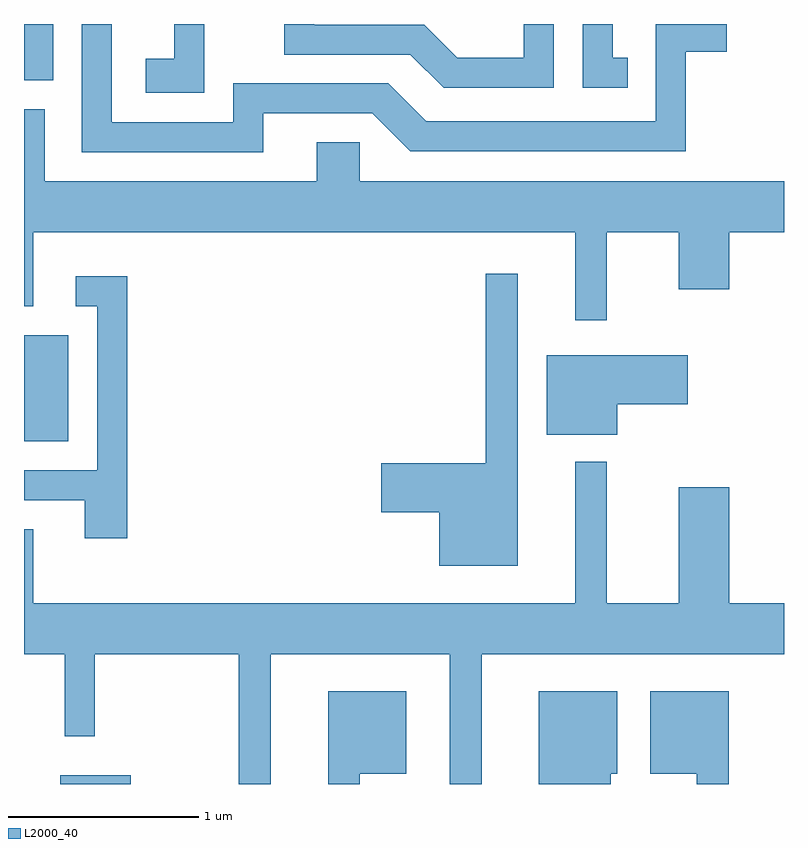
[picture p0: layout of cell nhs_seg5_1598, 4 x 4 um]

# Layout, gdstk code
import gdstk
lib = gdstk.Library(unit=1e-6, precision=1e-09)
def R(c, l, rs):  # rectangles x0, y0, x1, y1
    for r in rs: c.add(gdstk.rectangle(r[:2], r[2:], *l))
def P(c, l, *ps):  # polygons
    for p in ps: c.add(gdstk.Polygon(p, *l))
L2000_40 = (2000, 40)

nhs_seg5_1598 = lib.new_cell('nhs_seg5_1598')
R(nhs_seg5_1598, L2000_40, [(231.801,1496.072,232.174,1496.119), (231.611,1497.876,231.844,1498.434), (231.611,1499.776,231.764,1500.072)])
P(nhs_seg5_1598, L2000_40, [(234.399,1500.072),(234.241,1500.072),(234.241,1499.894),(233.892,1499.894),(233.717,1500.069),(233.139,1500.069),(233.139,1500.072),(232.981,1500.072),(232.981,1499.911),(233.644,1499.911),(233.819,1499.736),(234.399,1499.736)],
  [(232.869,1499.601),(233.444,1499.601),(233.644,1499.401),(235.094,1499.401),(235.094,1499.926),(235.309,1499.926),(235.309,1500.072),(234.936,1500.072),(234.936,1499.559),(233.727,1499.559),(233.527,1499.759),(232.711,1499.759),(232.711,1499.554),(232.074,1499.554),(232.074,1500.072),(231.916,1500.072),(231.916,1499.396),(232.869,1499.396)],
  [(232.559,1500.072),(232.401,1500.072),(232.401,1499.889),(232.251,1499.889),(232.251,1499.711),(232.559,1499.711)],
  [(234.788,1499.894),(234.709,1499.894),(234.709,1500.072),(234.551,1500.072),(234.551,1499.736),(234.788,1499.736)],
  [(233.379,1499.449),(233.151,1499.449),(233.151,1499.244),(231.719,1499.244),(231.719,1499.624),(231.611,1499.624),(231.611,1498.586),(231.659,1498.586),(231.659,1498.976),(234.511,1498.976),(234.511,1498.513),(234.679,1498.513),(234.679,1498.976),(235.056,1498.976),(235.056,1498.676),(235.324,1498.676),(235.324,1498.976),(235.611,1498.976),(235.611,1499.244),(233.379,1499.244)],
  [(234.209,1498.758),(234.041,1498.758),(234.041,1497.759),(233.491,1497.759),(233.491,1497.501),(233.796,1497.501),(233.796,1497.221),(234.209,1497.221)],
  [(232.154,1498.744),(231.883,1498.744),(231.883,1498.586),(231.996,1498.586),(231.996,1497.724),(231.611,1497.724),(231.611,1497.566),(231.931,1497.566),(231.931,1497.366),(232.154,1497.366)],
  [(234.734,1498.071),(235.104,1498.071),(235.104,1498.329),(234.361,1498.329),(234.361,1497.911),(234.734,1497.911)],
  [(232.909,1496.756),(233.851,1496.756),(233.851,1496.072),(234.019,1496.072),(234.019,1496.756),(235.611,1496.756),(235.611,1497.024),(235.324,1497.024),(235.324,1497.634),(235.056,1497.634),(235.056,1497.024),(234.679,1497.024),(234.679,1497.768),(234.511,1497.768),(234.511,1497.024),(231.659,1497.024),(231.659,1497.414),(231.611,1497.414),(231.611,1496.756),(231.826,1496.756),(231.826,1496.323),(231.984,1496.323),(231.984,1496.756),(232.741,1496.756),(232.741,1496.072),(232.909,1496.072)],
  [(233.379,1496.126),(233.624,1496.126),(233.624,1496.559),(233.211,1496.559),(233.211,1496.072),(233.379,1496.072)],
  [(234.699,1496.126),(234.734,1496.126),(234.734,1496.559),(234.321,1496.559),(234.321,1496.072),(234.699,1496.072)],
  [(235.319,1496.559),(234.906,1496.559),(234.906,1496.126),(235.151,1496.126),(235.151,1496.072),(235.319,1496.072)])

lib.write_gds('nhs_seg5_1598.gds')
